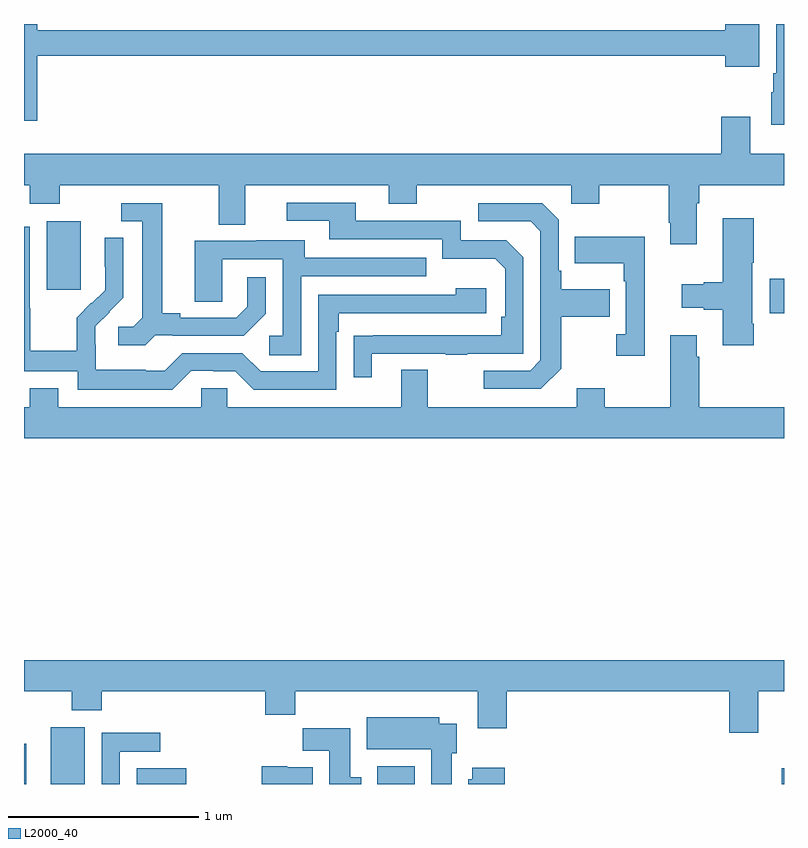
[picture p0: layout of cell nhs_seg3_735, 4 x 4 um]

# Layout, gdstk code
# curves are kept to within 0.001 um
import gdstk
lib = gdstk.Library(unit=1e-6, precision=1e-09)
def R(c, l, rs):  # rectangles x0, y0, x1, y1
    for r in rs: c.add(gdstk.rectangle(r[:2], r[2:], *l))
def P(c, l, *ps):  # polygons
    for p in ps: c.add(gdstk.Polygon(p, *l))
L2000_40 = (2000, 40)

nhs_seg3_735 = lib.new_cell('nhs_seg3_735')
R(nhs_seg3_735, L2000_40, [(147.14,728.4,147.319,728.698), (147.593,728.4,147.853,728.482), (148.859,728.4,149.056,728.494), (150.989,728.4,151,728.484), (150.924,730.877,151,731.06), (147.119,731.001,147.298,731.362)])
P(nhs_seg3_735, L2000_40, [(147.071,732.232),(150.692,732.232),(150.692,732.176),(150.871,732.176),(150.871,732.4),(150.692,732.4),(150.692,732.368),(147.071,732.368),(147.071,732.4),(147,732.4),(147,731.892),(147.071,731.892)],
  [(151,732.4),(150.959,732.4),(150.959,732.142),(150.944,732.142),(150.944,732.042),(150.932,732.042),(150.932,731.87),(151,731.87)],
  [(150.541,731.456),(150.554,731.456),(150.554,731.552),(151,731.552),(151,731.716),(150.823,731.716),(150.823,731.911),(150.671,731.911),(150.671,731.716),(147,731.716),(147,731.552),(147.029,731.552),(147.029,731.453),(147.189,731.453),(147.189,731.552),(148.025,731.552),(148.025,731.344),(148.165,731.344),(148.165,731.552),(148.919,731.552),(148.919,731.453),(149.067,731.453),(149.067,731.552),(149.88,731.552),(149.88,731.453),(150.027,731.453),(150.027,731.552),(150.394,731.552),(150.394,731.353),(150.401,731.353),(150.401,731.241),(150.541,731.241)],
  [(148.831,730.665),(149.221,730.665),(149.221,730.66),(149.333,730.66),(149.333,730.665),(149.628,730.665),(149.628,731.172),(149.538,731.262),(149.298,731.262),(149.298,731.364),(148.747,731.364),(148.747,731.46),(148.383,731.46),(148.383,731.364),(148.607,731.364),(148.607,731.268),(149.202,731.268),(149.202,731.165),(149.479,731.165),(149.532,731.112),(149.532,730.858),(149.512,730.858),(149.512,730.761),(148.735,730.76),(148.735,730.542),(148.831,730.542)],
  [(147.69,730.761),(147.784,730.761),(147.784,730.758),(148.156,730.758),(148.272,730.874),(148.272,731.068),(148.175,731.068),(148.175,730.911),(148.118,730.854),(147.823,730.854),(147.823,730.877),(147.727,730.877),(147.727,731.457),(147.513,731.457),(147.513,731.361),(147.623,731.361),(147.623,730.853),(147.576,730.806),(147.495,730.806),(147.495,730.709),(147.638,730.709)],
  [(149.827,730.585),(149.827,730.858),(150.083,730.858),(150.083,731.005),(149.827,731.005),(149.827,731.101),(149.814,731.101),(149.814,731.37),(149.727,731.457),(149.391,731.457),(149.391,731.361),(149.667,731.361),(149.718,731.31),(149.718,730.629),(149.664,730.575),(149.421,730.575),(149.421,730.479),(149.721,730.479)],
  [(150.84,730.822),(150.832,730.822),(150.832,731.143),(150.84,731.143),(150.84,731.377),(150.677,731.377),(150.677,731.042),(150.578,731.042),(150.578,731.029),(150.462,731.029),(150.462,730.907),(150.578,730.907),(150.578,730.895),(150.677,730.895),(150.677,730.71),(150.84,730.71)],
  [(147.879,730.575),(147.995,730.575),(147.995,730.572),(148.113,730.572),(148.209,730.476),(148.644,730.476),(148.644,730.781),(148.657,730.781),(148.657,730.878),(149.434,730.878),(149.434,731.008),(149.273,731.008),(149.273,730.974),(148.548,730.974),(148.548,730.572),(148.245,730.572),(148.149,730.668),(147.834,730.668),(147.741,730.575),(147.641,730.575),(147.641,730.579),(147.378,730.579),(147.378,730.713),(147.376,730.713),(147.376,730.81),(147.522,730.958),(147.522,731.276),(147.426,731.276),(147.426,731.122),(147.428,731.122),(147.428,731),(147.357,730.929),(147.354,730.932),(147.277,730.855),(147.277,730.681),(147.033,730.681),(147.033,730.904),(147.03,730.904),(147.03,731.334),(147,731.334),(147,730.572),(147.282,730.572),(147.282,730.475),(147.779,730.475)],
  [(150.266,731.281),(149.899,731.281),(149.899,731.141),(150.156,731.141),(150.156,731.045),(150.168,731.045),(150.168,730.766),(150.117,730.766),(150.117,730.653),(150.266,730.653)],
  [(148.458,731.073),(149.117,731.073),(149.117,731.169),(148.477,731.169),(148.477,731.263),(148.223,731.263),(148.223,731.259),(147.899,731.259),(147.899,730.939),(148.044,730.939),(148.044,731.163),(148.362,731.163),(148.362,730.758),(148.29,730.758),(148.29,730.657),(148.458,730.657)],
  [(151,730.384),(150.554,730.384),(150.554,730.649),(150.541,730.649),(150.541,730.762),(150.401,730.762),(150.401,730.384),(150.057,730.384),(150.057,730.483),(149.909,730.483),(149.909,730.384),(149.125,730.384),(149.125,730.579),(148.985,730.579),(148.985,730.384),(148.071,730.384),(148.071,730.482),(147.933,730.482),(147.933,730.384),(147.181,730.384),(147.181,730.483),(147.029,730.483),(147.029,730.384),(147,730.384),(147,730.22),(151,730.22)],
  [(150.865,728.888),(151,728.888),(151,729.052),(147,729.052),(147,728.888),(147.25,728.888),(147.25,728.789),(147.41,728.789),(147.41,728.888),(148.271,728.888),(148.271,728.764),(148.427,728.764),(148.427,728.888),(149.387,728.888),(149.387,728.694),(149.54,728.694),(149.54,728.888),(150.713,728.888),(150.713,728.67),(150.865,728.67)],
  [(149.251,728.562),(149.278,728.562),(149.278,728.716),(149.185,728.716),(149.185,728.752),(148.805,728.752),(148.805,728.582),(149.144,728.582),(149.144,728.4),(149.251,728.4)],
  [(148.774,728.436),(148.717,728.436),(148.717,728.694),(148.468,728.694),(148.468,728.576),(148.607,728.576),(148.607,728.4),(148.774,728.4)],
  [(147.504,728.571),(147.718,728.571),(147.718,728.67),(147.408,728.67),(147.408,728.4),(147.504,728.4)],
  [(147.011,728.458),(147.012,728.458),(147.012,728.612),(147,728.612),(147,728.4),(147.011,728.4)],
  [(148.519,728.488),(148.386,728.488),(148.386,728.494),(148.25,728.494),(148.25,728.4),(148.519,728.4)],
  [(149.531,728.485),(149.36,728.485),(149.36,728.424),(149.339,728.424),(149.339,728.4),(149.531,728.4)])

lib.write_gds('nhs_seg3_735.gds')
